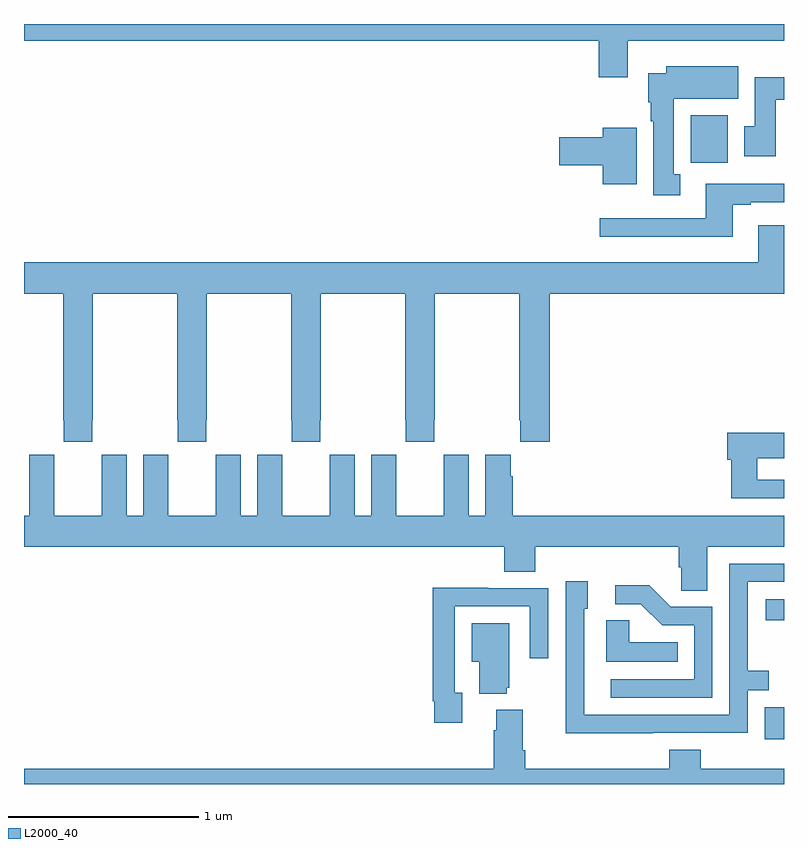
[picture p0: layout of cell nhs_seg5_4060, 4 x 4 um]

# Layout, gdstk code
import gdstk
lib = gdstk.Library(unit=1e-6, precision=1e-09)
def R(c, l, rs):  # rectangles x0, y0, x1, y1
    for r in rs: c.add(gdstk.rectangle(r[:2], r[2:], *l))
def P(c, l, *ps):  # polygons
    for p in ps: c.add(gdstk.Polygon(p, *l))
L2000_40 = (2000, 40)

nhs_seg5_4060 = lib.new_cell('nhs_seg5_4060')
R(nhs_seg5_4060, L2000_40, [(352.899,901.035,353,901.203), (352.905,901.661,353,901.771), (352.509,904.068,352.705,904.318)])
P(nhs_seg5_4060, L2000_40, [(352.177,904.712),(353,904.712),(353,904.799),(349,904.799),(349,904.712),(352.025,904.712),(352.025,904.518),(352.177,904.518)],
  [(352.453,904.009),(352.42,904.009),(352.42,904.406),(352.759,904.406),(352.759,904.576),(352.379,904.576),(352.379,904.54),(352.286,904.54),(352.286,904.386),(352.298,904.386),(352.298,904.286),(352.313,904.286),(352.313,903.897),(352.453,903.897)],
  [(352.957,904.4),(353,904.4),(353,904.518),(352.847,904.518),(352.847,904.26),(352.79,904.26),(352.79,904.104),(352.957,904.104)],
  [(352.225,904.252),(352.046,904.252),(352.046,904.202),(351.816,904.202),(351.816,904.055),(352.046,904.055),(352.046,903.956),(352.225,903.956)],
  [(352.729,903.849),(352.825,903.849),(352.825,903.861),(353,903.861),(353,903.958),(352.589,903.958),(352.589,903.777),(352.029,903.777),(352.029,903.68),(352.729,903.68)],
  [(349,903.38),(349.207,903.38),(349.207,902.713),(349.209,902.713),(349.209,902.601),(349.359,902.601),(349.359,902.713),(349.362,902.713),(349.362,903.38),(349.807,903.38),(349.807,902.713),(349.809,902.713),(349.809,902.601),(349.959,902.601),(349.959,902.713),(349.962,902.713),(349.962,903.38),(350.407,903.38),(350.407,902.713),(350.409,902.713),(350.409,902.601),(350.559,902.601),(350.559,902.713),(350.562,902.713),(350.562,903.38),(351.007,903.38),(351.007,902.713),(351.009,902.713),(351.009,902.601),(351.159,902.601),(351.159,902.713),(351.162,902.713),(351.162,903.38),(351.607,903.38),(351.607,902.713),(351.613,902.713),(351.613,902.601),(351.767,902.601),(351.767,903.38),(353,903.38),(353,903.739),(352.865,903.739),(352.865,903.544),(349,903.544)],
  [(353,902.4),(352.859,902.4),(352.859,902.513),(353,902.513),(353,902.648),(352.7,902.648),(352.7,902.506),(352.723,902.506),(352.723,902.304),(353,902.304)],
  [(352.597,902.048),(353,902.048),(353,902.212),(351.572,902.212),(351.572,902.42),(351.562,902.42),(351.562,902.533),(351.428,902.533),(351.428,902.212),(351.34,902.212),(351.34,902.533),(351.21,902.533),(351.21,902.42),(351.209,902.42),(351.209,902.212),(350.959,902.212),(350.959,902.42),(350.958,902.42),(350.958,902.533),(350.828,902.533),(350.828,902.212),(350.74,902.212),(350.74,902.533),(350.61,902.533),(350.61,902.42),(350.609,902.42),(350.609,902.212),(350.359,902.212),(350.359,902.42),(350.358,902.42),(350.358,902.533),(350.228,902.533),(350.228,902.212),(350.14,902.212),(350.14,902.533),(350.01,902.533),(350.01,902.42),(350.009,902.42),(350.009,902.212),(349.759,902.212),(349.759,902.42),(349.758,902.42),(349.758,902.533),(349.628,902.533),(349.628,902.212),(349.54,902.212),(349.54,902.533),(349.41,902.533),(349.41,902.42),(349.409,902.42),(349.409,902.212),(349.159,902.212),(349.159,902.42),(349.158,902.42),(349.158,902.533),(349.028,902.533),(349.028,902.212),(349,902.212),(349,902.048),(351.527,902.048),(351.527,901.915),(351.692,901.915),(351.692,902.048),(352.445,902.048),(352.445,901.939),(352.458,901.939),(352.458,901.816),(352.597,901.816)],
  [(352.313,901.068),(352.809,901.068),(352.809,901.293),(352.919,901.293),(352.919,901.394),(352.809,901.394),(352.809,901.863),(353,901.863),(353,901.959),(352.713,901.959),(352.713,901.164),(351.948,901.164),(351.948,901.722),(351.967,901.722),(351.967,901.867),(351.852,901.867),(351.852,901.373),(351.85,901.373),(351.85,901.067),(352.313,901.067)],
  [(352.623,901.731),(352.404,901.731),(352.291,901.844),(352.113,901.844),(352.113,901.746),(352.247,901.746),(352.358,901.635),(352.527,901.635),(352.527,901.35),(352.089,901.35),(352.089,901.254),(352.623,901.254)],
  [(351.307,901.278),(351.267,901.278),(351.267,901.734),(351.663,901.734),(351.663,901.461),(351.759,901.461),(351.759,901.83),(351.443,901.83),(351.443,901.832),(351.151,901.832),(351.151,901.234),(351.159,901.234),(351.159,901.122),(351.307,901.122)],
  [(352.442,901.546),(352.185,901.546),(352.185,901.661),(352.064,901.661),(352.064,901.442),(352.442,901.442)],
  [(351.542,901.305),(351.553,901.305),(351.553,901.645),(351.356,901.645),(351.356,901.442),(351.395,901.442),(351.395,901.274),(351.542,901.274)],
  [(353,900.88),(352.562,900.88),(352.562,900.979),(352.397,900.979),(352.397,900.88),(351.638,900.88),(351.638,900.976),(351.625,900.976),(351.625,901.189),(351.485,901.189),(351.485,901.082),(351.473,901.082),(351.473,900.88),(349,900.88),(349,900.799),(353,900.799)])

lib.write_gds('nhs_seg5_4060.gds')
